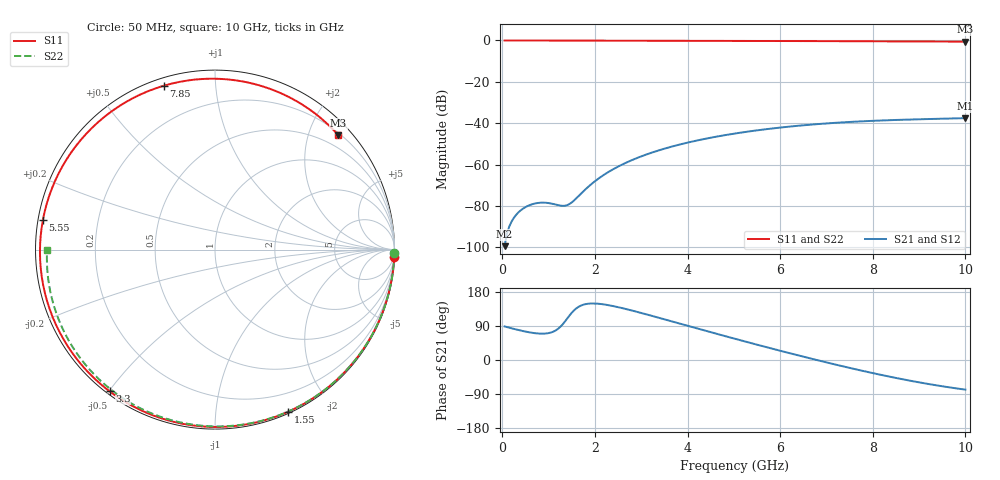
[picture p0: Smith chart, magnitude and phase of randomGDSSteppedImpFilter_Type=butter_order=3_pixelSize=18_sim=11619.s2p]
! freq	dB(S11)	phase(S11)	dB(S12)	phase(S12)
!  dB(S21)	phase(S21)	dB(S22)	phase(S22)
!S-par simulation data
#  GHz  S  DB  R 50
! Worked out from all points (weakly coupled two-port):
!   200 points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, 50 MHz to 10 GHz, reference 50 ohm
!   highest |S21| = -37.53 dB at 10 GHz (marker M1); lowest = -99.4 dB at 50 MHz (marker M2)
!   lowest |S11| = -0.6 dB at 10 GHz (marker M3), VSWR 30.85, Z = 12.1 + j127 ohm
!   |S11| at or under -10 dB: nowhere
!   |S22| runs from -0.6 to 0.0 dB; largest |S21 - S12| = 0
!   S11 on the Smith chart (normalised r, x): 50 MHz: 0, -51; 1.55 GHz: 0.02, -1.54; 3.3 GHz: 0.01, -0.50; 5.55 GHz: 0.01, +0.09; 7.85 GHz: 0.03, +0.74; 10 GHz: 0.24, +2.53
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0.05  -0.00 -2.2  -99.38 88.6  -99.38 88.6  -0.00 -1.1
0.55  -0.03 -24.3  -79.94 73.8  -79.94 73.8  -0.01 -11.5
0.7  -0.04 -30.7  -78.79 70.8  -78.79 70.8  -0.02 -14.6
0.95  -0.05 -41.4  -78.43 70.1  -78.43 70.1  -0.03 -19.8
1.35  -0.07 -57.9  -79.86 101.1  -79.86 101.1  -0.04 -28.0
1.55  -0.08 -65.8  -77.29 131.1  -77.29 131.1  -0.04 -32.1
1.75  -0.09 -73.6  -72.90 145.9  -72.90 145.9  -0.05 -36.1
2.05  -0.10 -84.8  -67.16 148.7  -67.16 148.7  -0.05 -42.1
2.4  -0.11 -97.2  -62.14 142.1  -62.14 142.1  -0.06 -49.0
2.8  -0.12 -110.7  -57.80 130.5  -57.80 130.5  -0.07 -56.8
3.3  -0.14 -126.6  -53.66 114.2  -53.66 114.2  -0.09 -66.3
3.4  -0.14 -129.7  -52.95 110.8  -52.95 110.8  -0.09 -68.1
4.2  -0.17 -153.1  -48.35 83.6  -48.35 83.6  -0.12 -82.8
5.05  -0.21 -176.4  -44.86 55.1  -44.86 55.1  -0.15 -97.8
5.55  -0.24 170.2  -43.28 38.8  -43.28 38.8  -0.17 -106.3
6.1  -0.27 155.5  -41.85 21.3  -41.85 21.3  -0.20 -115.5
6.7  -0.31 139.4  -40.60 2.7  -40.60 2.7  -0.24 -125.4
7.3  -0.35 122.9  -39.64 -15.1  -39.64 -15.1  -0.29 -135.2
7.85  -0.38 107.3  -38.97 -30.6  -38.97 -30.6  -0.34 -144.2
8.35  -0.42 92.8  -38.52 -43.7  -38.52 -43.7  -0.38 -152.3
9.15  -0.48 68.8  -37.99 -62.3  -37.99 -62.3  -0.47 -165.5
10  -0.56 42.8  -37.53 -78.2  -37.53 -78.2  -0.58 180.0
